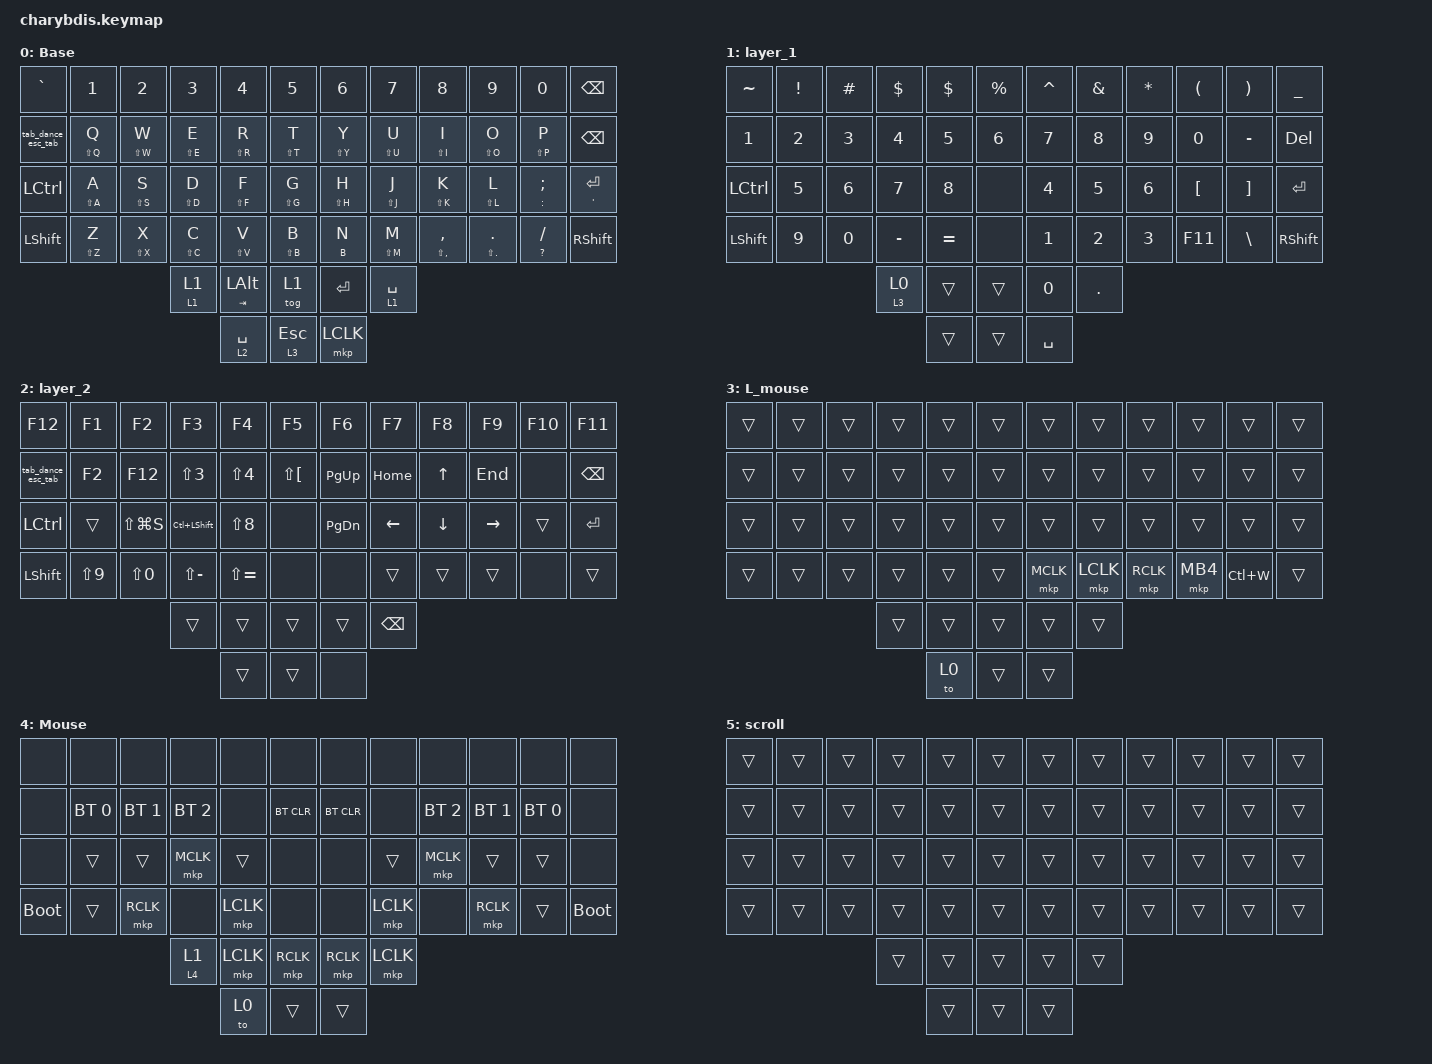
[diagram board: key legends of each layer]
#include <dt-bindings/zmk/mouse.h>
#include <behaviors/mouse_keys.dtsi>
#include <behaviors.dtsi>
#include <dt-bindings/zmk/bt.h>
#include <dt-bindings/zmk/keys.h>

&lt {
    tapping-term-ms = <200>;
    flavor = "balanced";
    quick-tap-ms = <150>;
};

/ {
    combos {
        compatible = "zmk,combos";

        com_bs {
            bindings = <&kp BACKSPACE>;
            key-positions = <31 32>;
            layers = <0 1>;
        };

        com_del {
            bindings = <&kp DEL>;
            key-positions = <32 33>;
            layers = <0 1>;
        };

        com_exe {
            bindings = <&kp LC(E)>;
            key-positions = <14 15 16>;
        };

        com_lgui {
            bindings = <&kp LEFT_WIN>;
            key-positions = <36 37>;
        };

        com_left_p {
            bindings = <&kp LEFT_PARENTHESIS>;
            key-positions = <19 20>;
            layers = <0>;
        };

        com_f5 {
            bindings = <&kp F5>;
            key-positions = <16 17>;
            layers = <0>;
        };

        com_plus {
            bindings = <&kp EQUAL>;
            key-positions = <33 34>;
            layers = <0>;
        };

        com_asta {
            bindings = <&kp ASTRK>;
            key-positions = <18 19>;
            layers = <0>;
        };

        com_right_p {
            bindings = <&kp RIGHT_PARENTHESIS>;
            key-positions = <20 21>;
        };

        com_ctrl_c {
            bindings = <&kp LC(C)>;
            key-positions = <27 28>;
        };

        com_ctrl_v {
            bindings = <&kp LC(V)>;
            key-positions = <39 40>;
        };

        com_ctrl_z {
            bindings = <&kp LC(Z)>;
            key-positions = <26 27>;
        };

        com_ctrl_x {
            bindings = <&kp LC(X)>;
            key-positions = <39 38>;
        };

        com_tidle {
            bindings = <&kp TILDE>;
            key-positions = <12 13>;
        };

        com_at {
            bindings = <&kp AT_SIGN>;
            key-positions = <13 14>;
        };

        com_unders {
            bindings = <&kp LS(MINUS)>;
            key-positions = <21 22>;
        };

        com_minus {
            bindings = <&kp MINUS>;
            key-positions = <31 20>;
        };

        com_caps {
            bindings = <&hold CAPS RIGHT_ALT>;
            key-positions = <52 31>;
        };
    };

    behaviors {
        tab_dance_esc_tab: tab_dance_esc_tab {
            compatible = "zmk,behavior-tap-dance";
            label = "TAB_DANCE_ESC_TAB";
            #binding-cells = <0>;
            bindings = <&hold ESC TAB>, <&kp GRAVE>;
        };

        hold: hold {
            compatible = "zmk,behavior-hold-tap";
            label = "HOLD";
            bindings = <&kp>, <&kp>;

            #binding-cells = <2>;
            tapping-term-ms = <270>;
            flavor = "balanced";
        };

        tog_layer: tog_layer {
            compatible = "zmk,behavior-hold-tap";
            label = "TOG_LAYER";
            bindings = <&tog>, <&tog>;

            #binding-cells = <2>;
            tapping-term-ms = <200>;
        };

        mo_to: mo_to {
            compatible = "zmk,behavior-hold-tap";
            label = "MO_TO";
            bindings = <&mo>, <&to>;

            #binding-cells = <2>;
            tapping-term-ms = <200>;
            flavor = "balanced";
        };
    };

    keymap {
        compatible = "zmk,keymap";

        Base {
            bindings = <
&kp GRAVE           &kp N1         &kp N2         &kp N3         &kp N4              &kp N5           &kp N6         &kp N7         &kp N8                 &kp N9             &kp N0                &kp BACKSPACE
&tab_dance_esc_tab  &hold LS(Q) Q  &hold LS(W) W  &hold LS(E) E  &hold LS(R) R       &hold LS(T) T    &hold LS(Y) Y  &hold LS(U) U  &hold LS(I) I          &hold LS(O) O      &hold LS(P) P         &kp BACKSPACE
&kp LEFT_CONTROL    &hold LS(A) A  &hold LS(S) S  &hold LS(D) D  &hold LS(F) F       &hold LS(G) G    &hold LS(H) H  &hold LS(J) J  &hold LS(K) K          &hold LS(L) L      &hold COLON SEMI      &hold SINGLE_QUOTE ENTER
&kp LEFT_SHIFT      &hold LS(Z) Z  &hold LS(X) X  &hold LS(C) C  &hold LS(V) V       &hold LS(B) B    &hold B N      &hold LS(M) M  &hold LS(COMMA) COMMA  &hold LS(DOT) DOT  &hold QUESTION SLASH  &kp RSHFT
                                                  &mo_to 1 1     &hold TAB LEFT_ALT  &tog 1           &kp ENTER      &lt 1 SPACE
                                                                 &lt 2 SPACE         &lt 3 ESC        &mkp LCLK
            >;

            trackball-bindings = <&tmv_coarse>;
        };

        layer_1 {
            bindings = <
&kp TILDE         &kp EXCLAMATION  &kp HASH      &kp DOLLAR      &kp DOLLAR    &kp PERCENT    &kp CARET  &kp AMPERSAND  &kp ASTERISK  &kp LEFT_PARENTHESIS  &kp RIGHT_PARENTHESIS  &kp UNDERSCORE
&kp N1            &kp N2           &kp N3        &kp N4          &kp N5        &kp N6         &kp N7     &kp N8         &kp N9        &kp N0                &kp MINUS              &kp DEL
&kp LEFT_CONTROL  &kp NUMBER_5     &kp NUMBER_6  &kp NUMBER_7    &kp NUMBER_8  &none          &kp N4     &kp N5         &kp N6        &kp LBKT              &kp RBKT               &kp RET
&kp LSHFT         &kp NUMBER_9     &kp NUMBER_0  &kp MINUS       &kp EQUAL     &none          &kp N1     &kp N2         &kp N3        &kp F11               &kp BSLH               &kp RSHFT
                                                 &tog_layer 3 0  &trans        &trans         &kp N0     &kp DOT
                                                                 &trans        &trans         &kp SPACE
            >;
        };

        layer_2 {
            bindings = <
&kp F12             &kp F1      &kp F2         &kp F3              &kp F4         &kp F5          &kp F6         &kp F7         &kp F8    &kp F9     &kp F10  &kp F11
&tab_dance_esc_tab  &kp F2      &kp F12        &kp LS(N3)          &kp LS(N4)     &kp LS(LBKT)    &kp PAGE_UP    &kp HOME       &kp UP    &kp END    &none    &kp BSPC
&kp LEFT_CONTROL    &trans      &kp LS(LG(S))  &kp LC(LEFT_SHIFT)  &kp LS(N8)     &none           &kp PAGE_DOWN  &kp LEFT       &kp DOWN  &kp RIGHT  &trans   &kp RET
&kp LEFT_SHIFT      &kp LS(N9)  &kp LS(N0)     &kp LS(MINUS)       &kp LS(EQUAL)  &none           &none          &trans         &trans    &trans     &none    &trans
                                               &trans              &trans         &trans          &trans         &kp BACKSPACE
                                                                   &trans         &trans          &none
            >;
        };

        L_mouse {
            bindings = <
&trans  &trans  &trans  &trans  &trans  &trans    &trans     &trans     &trans     &trans    &trans     &trans
&trans  &trans  &trans  &trans  &trans  &trans    &trans     &trans     &trans     &trans    &trans     &trans
&trans  &trans  &trans  &trans  &trans  &trans    &trans     &trans     &trans     &trans    &trans     &trans
&trans  &trans  &trans  &trans  &trans  &trans    &mkp MCLK  &mkp LCLK  &mkp RCLK  &mkp MB4  &kp LC(W)  &trans
                        &trans  &trans  &trans    &trans     &trans
                                &to 0   &trans    &trans
            >;
        };

        Mouse {
            bindings = <
&none        &none         &none         &none           &none      &none         &none       &none      &none         &none         &none         &none
&none        &bt BT_SEL 0  &bt BT_SEL 1  &bt BT_SEL 2    &none      &bt BT_CLR    &bt BT_CLR  &none      &bt BT_SEL 2  &bt BT_SEL 1  &bt BT_SEL 0  &none
&none        &trans        &trans        &mkp MCLK       &trans     &none         &none       &trans     &mkp MCLK     &trans        &trans        &none
&bootloader  &trans        &mkp RCLK     &none           &mkp LCLK  &none         &none       &mkp LCLK  &none         &mkp RCLK     &trans        &bootloader
                                         &tog_layer 4 1  &mkp LCLK  &mkp RCLK     &mkp RCLK   &mkp LCLK
                                                         &to 0      &trans        &trans
            >;
        };

        scroll {
            bindings = <
&trans  &trans  &trans  &trans  &trans  &trans    &trans  &trans  &trans  &trans  &trans  &trans
&trans  &trans  &trans  &trans  &trans  &trans    &trans  &trans  &trans  &trans  &trans  &trans
&trans  &trans  &trans  &trans  &trans  &trans    &trans  &trans  &trans  &trans  &trans  &trans
&trans  &trans  &trans  &trans  &trans  &trans    &trans  &trans  &trans  &trans  &trans  &trans
                        &trans  &trans  &trans    &trans  &trans
                                &trans  &trans    &trans
            >;
        };
    };
};
